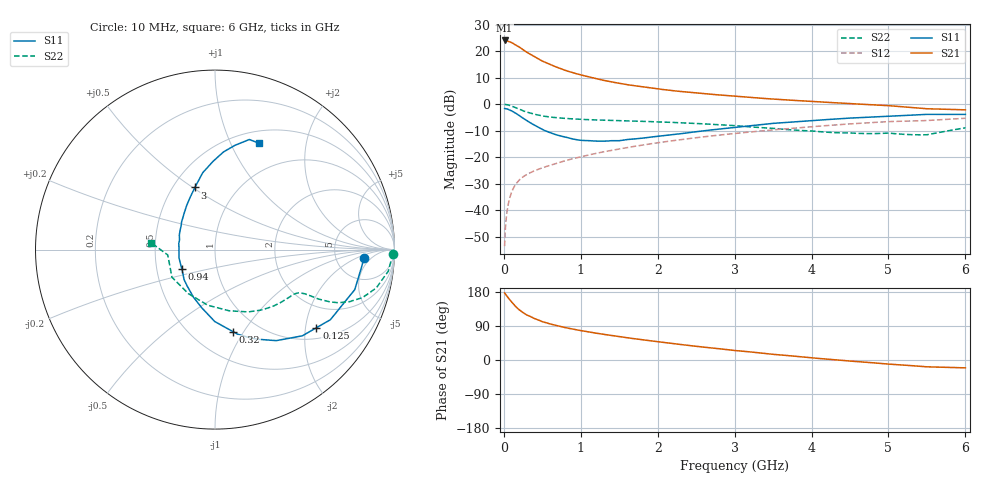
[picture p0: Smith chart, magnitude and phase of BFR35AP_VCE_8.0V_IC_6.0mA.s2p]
! Infineon Technologies  Discrete & RF Semiconductors
! BFR35AP
! VCE =  8.0 V,  IC =  6.0 mA
! Common Emitter S-Parameters:  Nov 2015
# GHz  S  MA  R  50
!  f  S11  S21  S12  S22
! GHz  MAG  ANG  MAG  ANG  MAG  ANG  MAG  ANG
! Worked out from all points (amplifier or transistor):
!   210 points, 10 MHz to 6 GHz, reference 50 ohm
!   highest |S21| = 24.0 dB at 10 MHz (marker M1)
!   |S21| within 3 dB of that: start of sweep to 226.1 MHz
!   unconditionally stable (mu >= 1): 789 MHz to 2.995 GHz
!   at 185 MHz: K = 0.41, MSG = 25.4 dB, |S12| = -29.1 dB
!   at 1.52 GHz: K = 1.10, MAG = 10.3 dB, |S12| = -16.8 dB
!   at 6 GHz: K = 0.90, MSG = 1.6 dB, |S12| = -5.3 dB
!   S11 on the Smith chart (normalised r, x): 10 MHz: 10, -3; 125 MHz: 1.30, -2.30; 320 MHz: 0.77, -0.90; 940 MHz: 0.67, -0.16; 3 GHz: 0.64, +0.51; 6 GHz: 0.64, +1.29
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0.01  0.8301 -3.2  15.91 176.9  0.0021 83.5  0.9921 -1.3
0.02  0.8235 -6.4  15.57 173.8  0.0045 80.2  0.9851 -2.9
0.05  0.8099 -16.0  15.52 165.9  0.0114 80.5  0.973 -7.1
0.1  0.7522 -31.3  14.61 153.3  0.0219 73.2  0.9234 -13.4
0.125  0.7133 -37.6  13.82 147.8  0.0261 70.4  0.8933 -15.6
0.15  0.684 -44.6  13.17 141.7  0.0304 68.3  0.8647 -18.0
0.2  0.6111 -56.1  11.96 132.4  0.0371 65.1  0.8051 -21.1
0.26  0.5317 -68.0  10.42 123.6  0.0436 61.7  0.7409 -23.5
0.3  0.488 -75.0  9.494 118.6  0.0474 61.2  0.7075 -24.4
0.32  0.4682 -77.6  9.139 117.0  0.049 60.8  0.6949 -24.6
0.4  0.4007 -90.2  7.805 109.2  0.0556 59.6  0.6446 -25.5
0.5  0.333 -102.7  6.503 101.1  0.063 59.4  0.5991 -25.8
0.7  0.2598 -125.5  4.9 90.0  0.078 60.2  0.5532 -26.3
0.94  0.2145 -149.2  3.764 79.8  0.097 61.0  0.5237 -27.5
1.02  0.2073 -157.7  3.504 77.0  0.1032 61.4  0.5165 -28.1
1.4  0.2048 170.2  2.626 64.6  0.1344 61.1  0.4941 -32.0
2.02  0.2492 136.8  1.926 47.8  0.189 58.2  0.4621 -41.0
3  0.3638 108.0  1.41 25.1  0.2801 50.1  0.3943 -61.7
3.1  0.3771 105.9  1.374 23.3  0.2893 48.9  0.3835 -64.4
4.1  0.5014 90.0  1.105 4.0  0.3852 37.7  0.3035 -101.6
5.1  0.601 77.8  0.913 -12.1  0.4729 23.9  0.2765 -152.2
6  0.6416 67.4  0.782 -20.7  0.5423 13.2  0.3588 173.8
